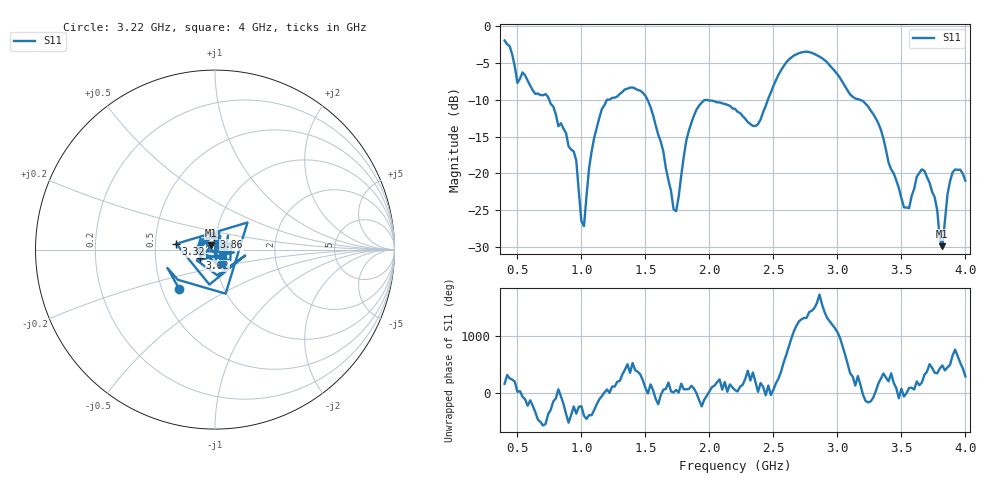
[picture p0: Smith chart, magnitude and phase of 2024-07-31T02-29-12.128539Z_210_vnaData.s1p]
!Created with skrf (http://scikit-rf.org).
# Hz S RI R 50.0
!freq ReS11 ImS11
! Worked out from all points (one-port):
!   181 points, 400 MHz to 4 GHz, reference 50 ohm
!   lowest |S11| = -29.9 dB at 3.82 GHz (marker M1), VSWR 1.07, Z = 47.9 + j2.35 ohm
!   |S11| at or under -10 dB: 747.9 MHz to 1.219 GHz (471.4 MHz wide, 47.9 % of centre); 1.516 GHz to 2.457 GHz (941.1 MHz wide, 47.4 % of centre); 3.172 GHz to end of sweep
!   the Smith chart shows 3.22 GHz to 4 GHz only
!   S11 on the Smith chart (normalised r, x): 3.22 GHz: 0.61, -0.30; 3.32 GHz: 0.64, +0.04; 3.62 GHz: 0.84, -0.08; 3.86 GHz: 0.98, +0.14; 4 GHz: 1.07, -0.17
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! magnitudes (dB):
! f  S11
! 400 MHz  -2.0
! 500 MHz  -7.7
! 720 MHz  -9.2
! 860 MHz  -13.9
! 960 MHz  -18.3
! 1.02 GHz  -27.1
! 1.06 GHz  -19.3
! 1.14 GHz  -12.5
! 1.3 GHz  -9.2
! 1.5 GHz  -9.5
! 1.72 GHz  -24.9
! 1.76 GHz  -23.1
! 1.82 GHz  -15.5
! 1.9 GHz  -11.3
! 2.2 GHz  -11.3
! 2.38 GHz  -13.3
! 2.66 GHz  -4.0
! 2.88 GHz  -4.4
! 3.1 GHz  -9.3
! 3.22 GHz  -10.6
! 3.32 GHz  -13.2
! 3.56 GHz  -24.7
! 3.62 GHz  -20.5
! 3.72 GHz  -21.3
! 3.82 GHz  -29.9
! 3.86 GHz  -22.9
! 3.92 GHz  -19.5
! 4 GHz  -21.0
